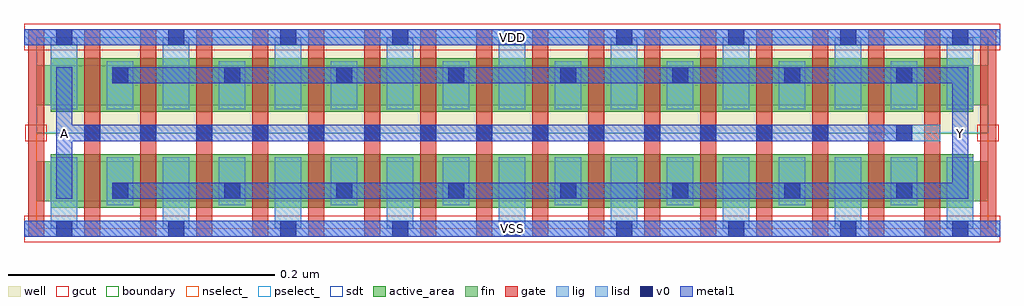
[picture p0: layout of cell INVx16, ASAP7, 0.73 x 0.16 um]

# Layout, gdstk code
import gdstk
lib = gdstk.Library(unit=1e-6, precision=2.5e-10)
def R(c, l, rs):  # rectangles x0, y0, x1, y1
    for r in rs: c.add(gdstk.rectangle(r[:2], r[2:], *l))
def A(c, l, x, y, w, h, nx, ny, dx, dy):  # array of equal rectangles
    R(c, l, [(x+i*dx, y+j*dy, x+i*dx+w, y+j*dy+h) for i in range(nx) for j in range(ny)])
def P(c, l, *ps):  # polygons
    for p in ps: c.add(gdstk.Polygon(p, *l))
well = (1, 0)
fin = (2, 0)
gate = (7, 0)
gcut = (10, 0)
active_area = (11, 0)
nselect_ = (12, 0)
pselect_ = (13, 0)
lig = (16, 0)
lisd = (17, 0)
v0 = (18, 0)
metal1 = (19, 0)
sdt = (88, 0)
boundary = (100, 0)

invx16 = lib.new_cell('INVx16')
R(invx16, well, [(0,0.072,0.714,0.144)])
R(invx16, fin, [(0,0.021,0.714,0.051), (0,0.093,0.714,0.123)])
A(invx16, gate, -0.006, -0.006, 0.012, 0.156, 18, 1, 0.042, 0)
R(invx16, gcut, [(-0.009,-0.01,0.723,0.01), (-0.008,0.066,0.008,0.078), (0.706,0.066,0.722,0.078), (-0.009,0.134,0.723,0.154)])
R(invx16, active_area, [(0.011,0.016,0.703,0.056), (0.011,0.088,0.703,0.128)])
R(invx16, nselect_, [(0,0,0.714,0.072)])
R(invx16, pselect_, [(0,0.072,0.714,0.144)])
A(invx16, lig, 0.036, 0.066, 0.012, 0.012, 14, 1, 0.042, 0)
R(invx16, lig, [(-0.009,-0.006,0.723,0.006), (0.624,0.066,0.678,0.078), (-0.009,0.138,0.723,0.15)])
A(invx16, lisd, 0.011, 0, 0.02, 0.054, 9, 2, 0.084, 0.09)
A(invx16, lisd, 0.053, 0.018, 0.02, 0.036, 8, 2, 0.084, 0.072)
A(invx16, v0, 0.015, -0.006, 0.012, 0.012, 9, 2, 0.084, 0.144)
A(invx16, v0, 0.057, 0.0227, 0.012, 0.012, 8, 2, 0.084, 0.0865)
A(invx16, v0, 0.036, 0.066, 0.012, 0.012, 14, 1, 0.042, 0)
R(invx16, v0, [(0.645,0.066,0.657,0.078)])
R(invx16, metal1, [(-0.009,-0.006,0.723,0.006), (-0.009,0.138,0.723,0.15)])
P(invx16, metal1, [(0.015,0.0227),(0.027,0.0227),(0.027,0.066),(0.657,0.066),(0.657,0.078),(0.027,0.078),(0.027,0.1212),(0.015,0.1212)],
  [(0.057,0.1092),(0.687,0.1092),(0.687,0.0348),(0.057,0.0348),(0.057,0.0227),(0.699,0.0227),(0.699,0.1212),(0.057,0.1212)])
A(invx16, sdt, 0.011, 0.021, 0.02, 0.03, 17, 2, 0.042, 0.072)
R(invx16, boundary, [(0,0,0.714,0.144)])
invx16.add(gdstk.Label('Y', (0.693,0.072), layer=19, texttype=251))
invx16.add(gdstk.Label('A', (0.021,0.072), layer=19, texttype=251))
invx16.add(gdstk.Label('VSS', (0.357,0), layer=19, texttype=251))
invx16.add(gdstk.Label('VDD', (0.357,0.144), layer=19, texttype=251))

lib.write_gds('INVx16.gds')
